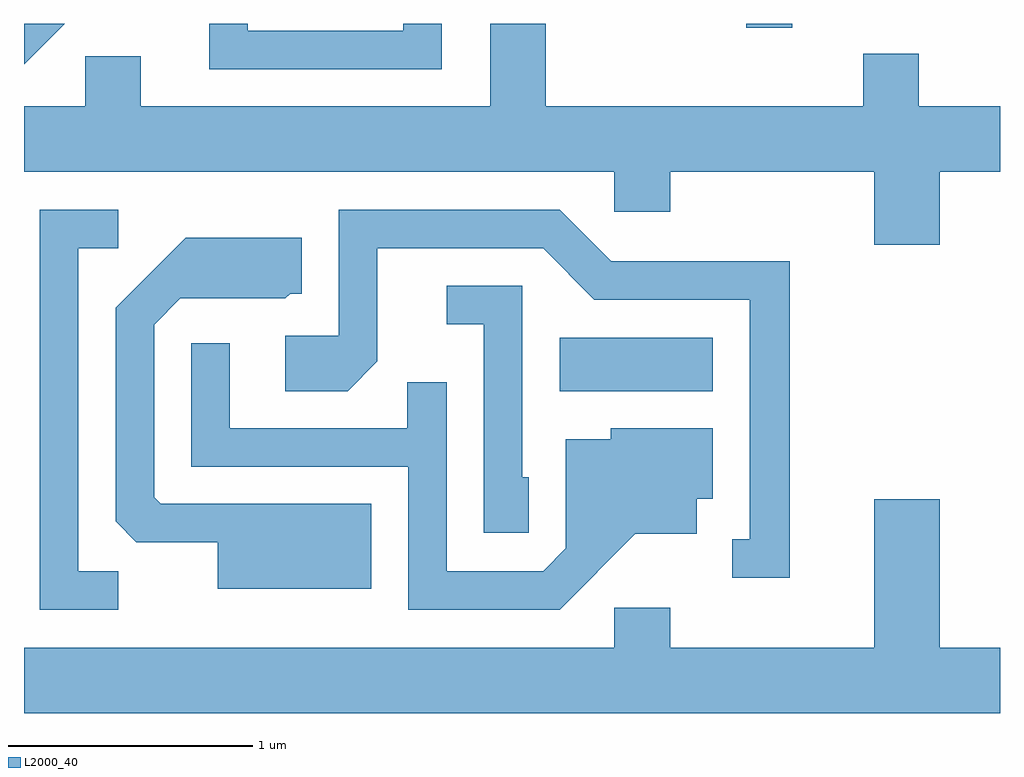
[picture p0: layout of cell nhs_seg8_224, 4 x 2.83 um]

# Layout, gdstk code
import gdstk
lib = gdstk.Library(unit=1e-6, precision=1e-09)
def R(c, l, rs):  # rectangles x0, y0, x1, y1
    for r in rs: c.add(gdstk.rectangle(r[:2], r[2:], *l))
def P(c, l, *ps):  # polygons
    for p in ps: c.add(gdstk.Polygon(p, *l))
L2000_40 = (2000, 40)

nhs_seg8_224 = lib.new_cell('nhs_seg8_224')
R(nhs_seg8_224, L2000_40, [(193.806,1848.836,194.434,1849.054), (194.571,1850.326,194.759,1850.342)])
P(nhs_seg8_224, L2000_40, [(193.324,1850.342),(193.166,1850.342),(193.166,1850.314),(192.529,1850.314),(192.529,1850.342),(192.371,1850.342),(192.371,1850.156),(193.324,1850.156)],
  [(195.364,1849.736),(195.611,1849.736),(195.611,1850.004),(195.279,1850.004),(195.279,1850.219),(195.051,1850.219),(195.051,1850.004),(193.749,1850.004),(193.749,1850.342),(193.521,1850.342),(193.521,1850.004),(192.089,1850.004),(192.089,1850.209),(191.861,1850.209),(191.861,1850.004),(191.611,1850.004),(191.611,1849.736),(194.031,1849.736),(194.031,1849.571),(194.259,1849.571),(194.259,1849.736),(195.096,1849.736),(195.096,1849.436),(195.364,1849.436)],
  [(191.778,1850.342),(191.611,1850.342),(191.611,1850.175)],
  [(194.749,1849.369),(194.017,1849.369),(193.807,1849.579),(192.901,1849.579),(192.901,1849.064),(192.681,1849.064),(192.681,1848.836),(192.937,1848.836),(193.059,1848.959),(193.059,1849.421),(193.739,1849.421),(193.949,1849.211),(194.586,1849.211),(194.586,1848.229),(194.513,1848.229),(194.513,1848.071),(194.749,1848.071)],
  [(191.998,1848.099),(191.834,1848.099),(191.834,1849.421),(191.998,1849.421),(191.998,1849.579),(191.676,1849.579),(191.676,1847.941),(191.998,1847.941)],
  [(193.034,1848.374),(192.172,1848.374),(192.144,1848.402),(192.144,1849.109),(192.252,1849.216),(192.682,1849.216),(192.702,1849.236),(192.749,1849.236),(192.749,1849.464),(192.274,1849.464),(191.986,1849.177),(191.986,1848.302),(192.072,1848.216),(192.406,1848.216),(192.406,1848.026),(193.034,1848.026)],
  [(193.679,1848.484),(193.654,1848.484),(193.654,1849.269),(193.343,1849.269),(193.343,1849.111),(193.496,1849.111),(193.496,1848.256),(193.679,1848.256)],
  [(194.117,1848.251),(194.369,1848.251),(194.369,1848.396),(194.434,1848.396),(194.434,1848.684),(194.016,1848.684),(194.016,1848.639),(193.831,1848.639),(193.831,1848.192),(193.739,1848.099),(193.344,1848.099),(193.344,1848.873),(193.181,1848.873),(193.181,1848.684),(192.454,1848.684),(192.454,1849.033),(192.296,1849.033),(192.296,1848.526),(193.186,1848.526),(193.186,1847.941),(193.807,1847.941)],
  [(195.611,1847.784),(195.364,1847.784),(195.364,1848.394),(195.096,1848.394),(195.096,1847.784),(194.259,1847.784),(194.259,1847.949),(194.031,1847.949),(194.031,1847.784),(191.611,1847.784),(191.611,1847.516),(195.611,1847.516)])

lib.write_gds('nhs_seg8_224.gds')
